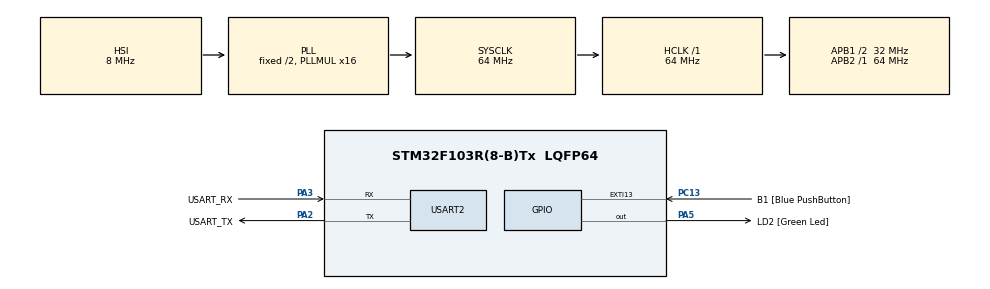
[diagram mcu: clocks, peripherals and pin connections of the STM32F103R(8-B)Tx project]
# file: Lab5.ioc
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FREERTOS.Queues01=ledPeriodQueue,1,int,0,Dynamic,NULL,NULL
FREERTOS.Tasks01=LED_Task,0,128,LED_TaskEntry,Default,NULL,Dynamic,NULL,NULL;cliReceiveTask,2,128,CLI_ReceiveTaskEntry,Default,NULL,Dynamic,NULL,NULL;cliTransmitTask,1,128,CLI_TransmitTaskEntry,Default,NULL,Dynamic,NULL,NULL
FREERTOS.configUSE_NEWLIB_REENTRANT=1
Mcu.Family=STM32F1
Mcu.Name=STM32F103R(8-B)Tx
Mcu.Package=LQFP64
NVIC.EXTI15_10_IRQn=true\:5\:0\:false\:false\:true\:true\:true\:true\:true
NVIC.PriorityGroup=NVIC_PRIORITYGROUP_4
NVIC.TIM4_IRQn=true\:15\:0\:false\:false\:true\:false\:false\:true\:true
NVIC.TimeBase=TIM4_IRQn
NVIC.TimeBaseIP=TIM4
NVIC.USART2_IRQn=true\:5\:0\:false\:false\:true\:true\:true\:true\:true
PA13.GPIO_Label=TMS
PA13.Mode=Serial_Wire
PA13.Signal=SYS_JTMS-SWDIO
PA14.GPIO_Label=TCK
PA14.Mode=Serial_Wire
PA14.Signal=SYS_JTCK-SWCLK
PA2.GPIO_Label=USART_TX
PA2.GPIO_Mode=GPIO_MODE_AF_PP
PA2.GPIO_PuPd=GPIO_NOPULL
PA2.GPIO_Speed=GPIO_SPEED_FREQ_LOW
PA2.Mode=Asynchronous
PA2.Signal=USART2_TX
PA3.GPIO_Label=USART_RX
PA3.GPIO_Mode=GPIO_MODE_AF_PP
PA3.GPIO_PuPd=GPIO_NOPULL
PA3.GPIO_Speed=GPIO_SPEED_FREQ_LOW
PA3.Mode=Asynchronous
PA3.Signal=USART2_RX
PA5.GPIO_Label=LD2 [Green Led]
PA5.GPIO_ModeDefaultOutputPP=GPIO_MODE_OUTPUT_PP
PA5.GPIO_PuPd=GPIO_NOPULL
PA5.GPIO_Speed=GPIO_SPEED_FREQ_LOW
PA5.Signal=GPIO_Output
PB3.GPIO_Label=SWO
PB3.Signal=SYS_JTDO-TRACESWO
PC13-TAMPER-RTC.GPIO_Label=B1 [Blue PushButton]
PC13-TAMPER-RTC.GPIO_PuPd=GPIO_NOPULL
PC13-TAMPER-RTC.Signal=GPXTI13
PC14-OSC32_IN.Mode=LSE-External-Oscillator
PC14-OSC32_IN.Signal=RCC_OSC32_IN
PC15-OSC32_OUT.Mode=LSE-External-Oscillator
PC15-OSC32_OUT.Signal=RCC_OSC32_OUT
PD0-OSC_IN.Mode=HSE-External-Clock-Source
PD0-OSC_IN.Signal=RCC_OSC_IN
PD1-OSC_OUT.Mode=HSE-External-Clock-Source
PD1-OSC_OUT.Signal=RCC_OSC_OUT
ProjectManager.HeapSize=0x200
ProjectManager.StackSize=0x400
ProjectManager.TargetToolchain=STM32CubeIDE
RCC.AHBFreq_Value=64000000
RCC.APB1CLKDivider=RCC_HCLK_DIV2
RCC.APB1Freq_Value=32000000
RCC.APB1TimFreq_Value=64000000
RCC.APB2Freq_Value=64000000
RCC.APB2TimFreq_Value=64000000
RCC.HCLKFreq_Value=64000000
RCC.PLLMUL=RCC_PLL_MUL16
RCC.RTCClockSelection=RCC_RTCCLKSOURCE_LSE
RCC.SYSCLKFreq_VALUE=64000000
RCC.SYSCLKSource=RCC_SYSCLKSOURCE_PLLCLK
RCC.USBFreq_Value=64000000
USART2.VirtualMode=VM_ASYNC
VP_FREERTOS_VS_CMSIS_V1.Mode=CMSIS_V1
VP_SYS_VS_tim4.Mode=TIM4
VP_TIM3_VS_ClockSourceINT.Mode=Internal
board=NUCLEO-F103RB

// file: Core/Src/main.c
/*
  Name : Tirth V Patel
    SID  : 200435378
    File : main.c
*/

/* USER CODE BEGIN Header */
/**
  ******************************************************************************
  * @file           : main.c
  * @brief          : Main program body
  ******************************************************************************
  * @attention
  *
  * Copyright (c) 2024 STMicroelectronics.
  * All rights reserved.
  *
  * This software is licensed under terms that can be found in the LICENSE file
  * in the root directory of this software component.
  * If no LICENSE file comes with this software, it is provided AS-IS.
  *
  ******************************************************************************
  */
/* USER CODE END Header */
#include "main.h"
#include "cmsis_os.h"
#include <string.h>
#define BACKSPACE 8		//ASCII value
#define DELETE 127
#define ENTER_KEY 13	//ASCII value
static uint8_t RXBuffer[10];
char TxBuffer[50];
int32_t ledBlinkPeriod = 500;

TIM_HandleTypeDef htim3;

UART_HandleTypeDef huart2;

osThreadId LED_TaskHandle;
osThreadId cliReceiveTaskHandle;
osThreadId cliTransmitTaskHandle;
osMessageQId ledPeriodQueueHandle;

void SystemClock_Config(void);
static void MX_GPIO_Init(void);
static void MX_USART2_UART_Init(void);
static void MX_TIM3_Init(void);
void LED_TaskEntry(void const * argument);
void CLI_ReceiveTaskEntry(void const * argument);
void CLI_TransmitTaskEntry(void const * argument);

int main(void)
{

  /* MCU Configuration--------------------------------------------------------*/

  /* Reset of all peripherals, Initializes the Flash interface and the Systick. */
  HAL_Init();

  /* Configure the system clock */
  SystemClock_Config();

  /* Initialize all configured peripherals */
  MX_GPIO_Init();
  MX_USART2_UART_Init();
  MX_TIM3_Init();

  HAL_TIM_Base_Start_IT(&htim3);					//Start the timer interrupt
  HAL_UART_Receive_IT(&huart2, RXBuffer, 1);		//Start receiving in interrupt mode

  CLI_Init();
  CLI_PrintPrompt();

  /* Create the queue(s) */
  /* definition and creation of ledPeriodQueue */
  osMessageQDef(ledPeriodQueue, 1, int);
  ledPeriodQueueHandle = osMessageCreate(osMessageQ(ledPeriodQueue), NULL);

  /* Create the thread(s) */
  /* definition and creation of LED_Task */
  osThreadDef(LED_Task, LED_TaskEntry, osPriorityNormal, 0, 128);
  LED_TaskHandle = osThreadCreate(osThread(LED_Task), NULL);

  /* definition and creation of cliReceiveTask */
  osThreadDef(cliReceiveTask, CLI_ReceiveTaskEntry, osPriorityHigh, 0, 128);
  cliReceiveTaskHandle = osThreadCreate(osThread(cliReceiveTask), NULL);

  /* definition and creation of cliTransmitTask */
  osThreadDef(cliTransmitTask, CLI_TransmitTaskEntry, osPriorityAboveNormal, 0, 128);
  cliTransmitTaskHandle = osThreadCreate(osThread(cliTransmitTask), NULL);

  /* Start scheduler */
  osKernelStart();

  /* We should never get here as control is now taken by the scheduler */

  /* Infinite loop */
  while (1)
  {

  }
}

void HAL_UART_TxCpltCallback(UART_HandleTypeDef *huart) {

}

char inputPeriod;
char cliBufferRx[50];
int bufferIndex = 0;
volatile int commandReady = 0;
volatile int txReady = 0;

void HAL_UART_RxCpltCallback(UART_HandleTypeDef *huart) {
	char receivedChar = RXBuffer[0];
	if (receivedChar == ENTER_KEY) {
		cliBufferRx[bufferIndex] = '\0';		// Null-terminate the buffer
		if (bufferIndex > 0) {
			cliBufferRx[bufferIndex] = '\0';  // Null-terminate
			commandReady = 1;
			bufferIndex = 0;
		 }
	}

	else if (receivedChar == BACKSPACE || receivedChar == DELETE){
		if (bufferIndex > 0) {
			bufferIndex--;
			char data[] = "\b \b";     // Erase character on screen
			transmitData(data);
		}
	}

	else {
		if (bufferIndex < sizeof(cliBufferRx) - 1){
			cliBufferRx[bufferIndex++] = receivedChar;
			 char echoChar[2] = {receivedChar, '\0'};
			transmitData(echoChar);
		}
	}
	HAL_UART_Receive_IT(&huart2, RXBuffer, 1);
}

void SystemClock_Config(void)
{
  RCC_OscInitTypeDef RCC_OscInitStruct = {0};
  RCC_ClkInitTypeDef RCC_ClkInitStruct = {0};

  /** Initializes the RCC Oscillators according to the specified parameters
  * in the RCC_OscInitTypeDef structure.
  */
  RCC_OscInitStruct.OscillatorType = RCC_OSCILLATORTYPE_HSI;
  RCC_OscInitStruct.HSIState = RCC_HSI_ON;
  RCC_OscInitStruct.HSICalibrationValue = RCC_HSICALIBRATION_DEFAULT;
  RCC_OscInitStruct.PLL.PLLState = RCC_PLL_ON;
  RCC_OscInitStruct.PLL.PLLSource = RCC_PLLSOURCE_HSI_DIV2;
  RCC_OscInitStruct.PLL.PLLMUL = RCC_PLL_MUL16;
  if (HAL_RCC_OscConfig(&RCC_OscInitStruct) != HAL_OK)
  {
    Error_Handler();
  }

  /** Initializes the CPU, AHB and APB buses clocks
  */
  RCC_ClkInitStruct.ClockType = RCC_CLOCKTYPE_HCLK|RCC_CLOCKTYPE_SYSCLK
                              |RCC_CLOCKTYPE_PCLK1|RCC_CLOCKTYPE_PCLK2;
  RCC_ClkInitStruct.SYSCLKSource = RCC_SYSCLKSOURCE_PLLCLK;
  RCC_ClkInitStruct.AHBCLKDivider = RCC_SYSCLK_DIV1;
  RCC_ClkInitStruct.APB1CLKDivider = RCC_HCLK_DIV2;
  RCC_ClkInitStruct.APB2CLKDivider = RCC_HCLK_DIV1;

  if (HAL_RCC_ClockConfig(&RCC_ClkInitStruct, FLASH_LATENCY_2) != HAL_OK)
  {
    Error_Handler();
  }
}

static void MX_TIM3_Init(void)
{

  TIM_ClockConfigTypeDef sClockSourceConfig = {0};
  TIM_MasterConfigTypeDef sMasterConfig = {0};

  htim3.Instance = TIM3;
  htim3.Init.Prescaler = 0;
  htim3.Init.CounterMode = TIM_COUNTERMODE_UP;
  htim3.Init.Period = 65535;
  htim3.Init.ClockDivision = TIM_CLOCKDIVISION_DIV1;
  htim3.Init.AutoReloadPreload = TIM_AUTORELOAD_PRELOAD_DISABLE;
  if (HAL_TIM_Base_Init(&htim3) != HAL_OK)
  {
    Error_Handler();
  }
  sClockSourceConfig.ClockSource = TIM_CLOCKSOURCE_INTERNAL;
  if (HAL_TIM_ConfigClockSource(&htim3, &sClockSourceConfig) != HAL_OK)
  {
    Error_Handler();
  }
  sMasterConfig.MasterOutputTrigger = TIM_TRGO_RESET;
  sMasterConfig.MasterSlaveMode = TIM_MASTERSLAVEMODE_DISABLE;
  if (HAL_TIMEx_MasterConfigSynchronization(&htim3, &sMasterConfig) != HAL_OK)
  {
    Error_Handler();
  }

}

static void MX_USART2_UART_Init(void)
{

  huart2.Instance = USART2;
  huart2.Init.BaudRate = 115200;
  huart2.Init.WordLength = UART_WORDLENGTH_8B;
  huart2.Init.StopBits = UART_STOPBITS_1;
  huart2.Init.Parity = UART_PARITY_NONE;
  huart2.Init.Mode = UART_MODE_TX_RX;
  huart2.Init.HwFlowCtl = UART_HWCONTROL_NONE;
  huart2.Init.OverSampling = UART_OVERSAMPLING_16;
  if (HAL_UART_Init(&huart2) != HAL_OK)
  {
    Error_Handler();
  }

}

static void MX_GPIO_Init(void)
{
  GPIO_InitTypeDef GPIO_InitStruct = {0};

  /* GPIO Ports Clock Enable */
  __HAL_RCC_GPIOC_CLK_ENABLE();
  __HAL_RCC_GPIOD_CLK_ENABLE();
  __HAL_RCC_GPIOA_CLK_ENABLE();
  __HAL_RCC_GPIOB_CLK_ENABLE();

  /*Configure GPIO pin Output Level */
  HAL_GPIO_WritePin(LD2_GPIO_Port, LD2_Pin, GPIO_PIN_RESET);

  /*Configure GPIO pin : B1_Pin */
  GPIO_InitStruct.Pin = B1_Pin;
  GPIO_InitStruct.Mode = GPIO_MODE_IT_RISING;
  GPIO_InitStruct.Pull = GPIO_NOPULL;
  HAL_GPIO_Init(B1_GPIO_Port, &GPIO_InitStruct);

  /*Configure GPIO pin : LD2_Pin */
  GPIO_InitStruct.Pin = LD2_Pin;
  GPIO_InitStruct.Mode = GPIO_MODE_OUTPUT_PP;
  GPIO_InitStruct.Pull = GPIO_NOPULL;
  GPIO_InitStruct.Speed = GPIO_SPEED_FREQ_LOW;
  HAL_GPIO_Init(LD2_GPIO_Port, &GPIO_InitStruct);

  /* EXTI interrupt init*/
  HAL_NVIC_SetPriority(EXTI15_10_IRQn, 5, 0);
  HAL_NVIC_EnableIRQ(EXTI15_10_IRQn);

}

void LED_TaskEntry(void const * argument)
{
  /* USER CODE BEGIN 5 */
  /* Infinite loop */
  osEvent evt;
  for(;;)
  {
	  evt = osMessageGet(ledPeriodQueueHandle, 0);
	  if (evt.status == osEventMessage) {
		  ledBlinkPeriod = evt.value.v;
	  }
	  HAL_GPIO_TogglePin(GPIOA, GPIO_PIN_5);
	  osDelay(ledBlinkPeriod);
  }
  /* USER CODE END 5 */
}

void CLI_ReceiveTaskEntry(void const * argument)
{
  /* USER CODE BEGIN CLI_ReceiveTaskEntry */
  /* Infinite loop */
  for(;;)
  {
	  if (commandReady) {
	       commandReady = 0;
	       ledBlinkPeriod = atoi(cliBufferRx);
	       osMessagePut(ledPeriodQueueHandle, ledBlinkPeriod, osWaitForever);
	       strncpy(TxBuffer, cliBufferRx, sizeof(TxBuffer) - 1);
	       TxBuffer[sizeof(TxBuffer) - 1] = '\0';
	       txReady= 1;
	       CLI_PrintPrompt();
	  }

	  osDelay(70);
  }
  /* USER CODE END CLI_ReceiveTaskEntry */
}

void CLI_TransmitTaskEntry(void const * argument)
{
  /* USER CODE BEGIN CLI_TransmitTaskEntry */
  /* Infinite loop */
  for(;;)
  {
	  if (txReady){
		  txReady=0;
		  updateStatusWindow(TxBuffer);
	  }
    osDelay(50);
  }
  /* USER CODE END CLI_TransmitTaskEntry */
}

void HAL_TIM_PeriodElapsedCallback(TIM_HandleTypeDef *htim)
{
  if (htim->Instance == TIM4) {
    HAL_IncTick();
  }
}

void Error_Handler(void)
{
  __disable_irq();
  while (1)
  {
  }
}
